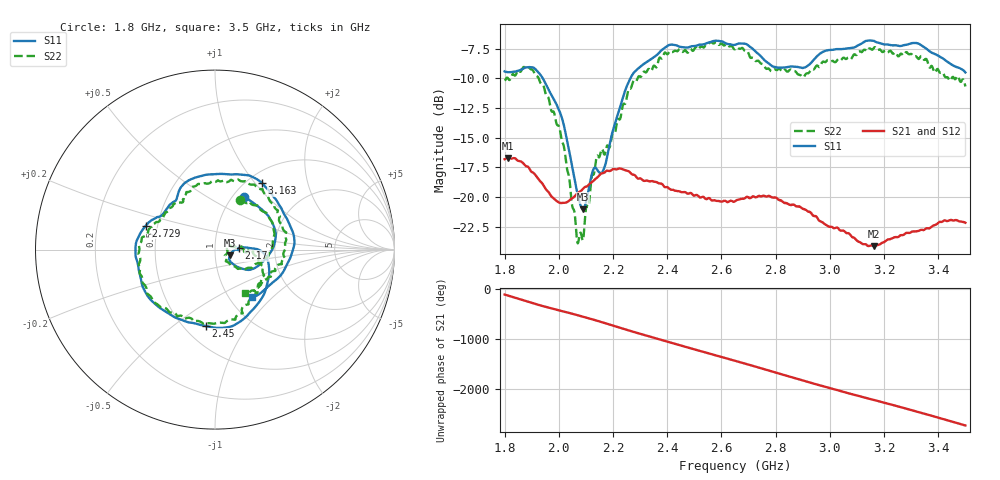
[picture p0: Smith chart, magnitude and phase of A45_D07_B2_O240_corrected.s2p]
! Created with skrf 1.9.0 (http://scikit-rf.org).
# Hz S RI R 50.0
!freq ReS11 ImS11 ReS21 ImS21 ReS12 ImS12 ReS22 ImS22
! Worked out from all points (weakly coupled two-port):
!   1601 points, 1.8 GHz to 3.5 GHz, reference 50 ohm
!   highest |S21| = -16.72 dB at 1.812 GHz (marker M1); lowest = -24.2 dB at 3.162 GHz (marker M2)
!   lowest |S11| = -21.1 dB at 2.09 GHz (marker M3), VSWR 1.19, Z = 58.9 - j3.82 ohm
!   |S11| at or under -10 dB: 1.941 GHz to 2.264 GHz (323 MHz wide, 15.4 % of centre)
!   |S22| runs from -23.9 to -6.9 dB; largest |S21 - S12| = 0.0027
!   S11 on the Smith chart (normalised r, x): 1.8 GHz: 1.13, +0.75; 2.17 GHz: 1.31, +0.03; 2.45 GHz: 0.63, -0.66; 2.729 GHz: 0.43, +0.14; 3.163 GHz: 1.16, +1.09; 3.5 GHz: 1.27, -0.75
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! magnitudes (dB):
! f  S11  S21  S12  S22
! 1.8 GHz  -9.4  -16.8  -16.8  -10.2
! 1.812 GHz  -9.5  -16.7  -16.7  -10.0
! 1.886 GHz  -9.1  -17.5  -17.5  -9.0
! 1.942 GHz  -10.1  -19.0  -19.0  -10.6
! 2.011 GHz  -13.3  -20.5  -20.5  -15.3
! 2.067 GHz  -19.5  -19.7  -19.7  -23.6
! 2.084 GHz  -20.9  -19.5  -19.4  -23.3
! 2.09 GHz  -21.1  -19.3  -19.3  -23.5
! 2.137 GHz  -17.6  -18.5  -18.4  -17.0
! 2.17 GHz  -17.4  -17.9  -18.0  -16.4
! 2.26 GHz  -10.2  -17.9  -17.9  -10.9
! 2.367 GHz  -7.9  -18.8  -18.8  -8.5
! 2.45 GHz  -7.4  -19.6  -19.6  -7.6
! 2.65 GHz  -7.2  -20.4  -20.4  -7.6
! 2.729 GHz  -7.8  -20.0  -20.1  -8.6
! 2.803 GHz  -9.1  -20.1  -20.1  -9.3
! 2.934 GHz  -8.6  -21.5  -21.4  -9.2
! 3.162 GHz  -6.8  -24.2  -24.1  -7.4
! 3.163 GHz  -6.9  -24.2  -24.1  -7.4
! 3.217 GHz  -7.2  -23.6  -23.6  -7.8
! 3.325 GHz  -7.1  -22.9  -22.9  -8.3
! 3.5 GHz  -9.5  -22.2  -22.2  -10.7
